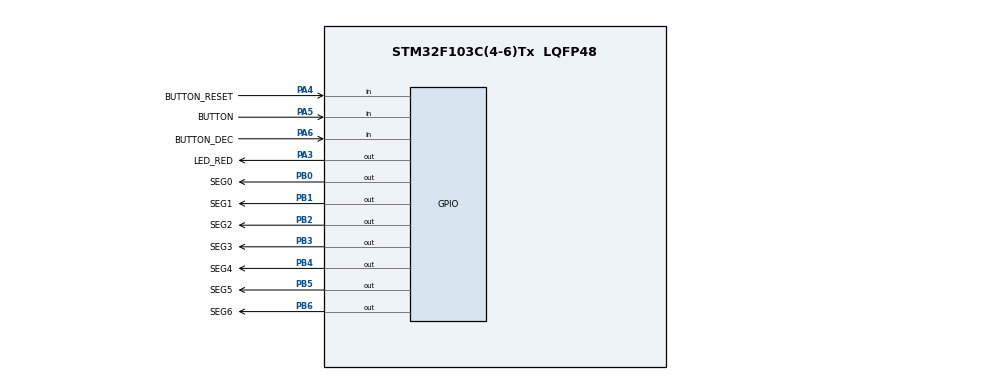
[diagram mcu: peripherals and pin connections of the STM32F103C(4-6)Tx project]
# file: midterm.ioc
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Mcu.Family=STM32F1
Mcu.Name=STM32F103C(4-6)Tx
Mcu.Package=LQFP48
NVIC.PriorityGroup=NVIC_PRIORITYGROUP_4
NVIC.TIM2_IRQn=true\:0\:0\:false\:false\:true\:true\:true\:true
PA3.GPIO_Label=LED_RED
PA3.Signal=GPIO_Output
PA4.GPIO_Label=BUTTON_RESET
PA4.GPIO_PuPd=GPIO_PULLUP
PA4.Signal=GPIO_Input
PA5.GPIO_Label=BUTTON
PA5.GPIO_PuPd=GPIO_PULLUP
PA5.Signal=GPIO_Input
PA6.GPIO_Label=BUTTON_DEC
PA6.GPIO_PuPd=GPIO_PULLUP
PA6.Signal=GPIO_Input
PB0.GPIO_Label=SEG0
PB0.Signal=GPIO_Output
PB1.GPIO_Label=SEG1
PB1.Signal=GPIO_Output
PB2.GPIO_Label=SEG2
PB2.Signal=GPIO_Output
PB3.GPIO_Label=SEG3
PB3.Signal=GPIO_Output
PB4.GPIO_Label=SEG4
PB4.Signal=GPIO_Output
PB5.GPIO_Label=SEG5
PB5.Signal=GPIO_Output
PB6.GPIO_Label=SEG6
PB6.Signal=GPIO_Output
ProjectManager.HeapSize=0x200
ProjectManager.StackSize=0x400
ProjectManager.TargetToolchain=STM32CubeIDE
RCC.APB1Freq_Value=8000000
RCC.APB2Freq_Value=8000000
TIM2.Period=9
TIM2.Prescaler=7999
VP_TIM2_VS_ClockSourceINT.Mode=Internal
board=custom

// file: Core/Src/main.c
/* USER CODE BEGIN Header */
/**
  ******************************************************************************
  * @file           : main.c
  * @brief          : Main program body
  ******************************************************************************
  * @attention
  *
  * Copyright (c) 2022 STMicroelectronics.
  * All rights reserved.
  *
  * This software is licensed under terms that can be found in the LICENSE file
  * in the root directory of this software component.
  * If no LICENSE file comes with this software, it is provided AS-IS.
  *
  ******************************************************************************
  */
/* USER CODE END Header */
#include "main.h"

/* USER CODE BEGIN Includes */
#include "global.h"
#include "software-timer.h"
#include "button.h"
#include "fsm-simple-button-run.h"
/* USER CODE END Includes */

TIM_HandleTypeDef htim2;

void SystemClock_Config(void);
static void MX_GPIO_Init(void);
static void MX_TIM2_Init(void);

int main(void)
{

  /* MCU Configuration--------------------------------------------------------*/

  /* Reset of all peripherals, Initializes the Flash interface and the Systick. */
  HAL_Init();

  /* Configure the system clock */
  SystemClock_Config();

  /* Initialize all configured peripherals */
  MX_GPIO_Init();
  MX_TIM2_Init();
  /* USER CODE BEGIN 2 */
  HAL_TIM_Base_Start_IT(&htim2);
  /* USER CODE END 2 */

  /* Infinite loop */
  /* USER CODE BEGIN WHILE */
  setTimer1(1000);
  //int number = 0;
  state = RS;
  while (1)
  {
	  fsm_simple_button_run();
//	  if (isButtonDCPressed() == 1) {
//		  if (number <= 9) {
//			  display7SegComAnode(number);
//			  number++;
//			  if (number > 9) number = 0;
//		  }
//	  }
    /* USER CODE END WHILE */

  }
}

void SystemClock_Config(void)
{
  RCC_OscInitTypeDef RCC_OscInitStruct = {0};
  RCC_ClkInitTypeDef RCC_ClkInitStruct = {0};

  /** Initializes the RCC Oscillators according to the specified parameters
  * in the RCC_OscInitTypeDef structure.
  */
  RCC_OscInitStruct.OscillatorType = RCC_OSCILLATORTYPE_HSI;
  RCC_OscInitStruct.HSIState = RCC_HSI_ON;
  RCC_OscInitStruct.HSICalibrationValue = RCC_HSICALIBRATION_DEFAULT;
  RCC_OscInitStruct.PLL.PLLState = RCC_PLL_NONE;
  if (HAL_RCC_OscConfig(&RCC_OscInitStruct) != HAL_OK)
  {
    Error_Handler();
  }

  /** Initializes the CPU, AHB and APB buses clocks
  */
  RCC_ClkInitStruct.ClockType = RCC_CLOCKTYPE_HCLK|RCC_CLOCKTYPE_SYSCLK
                              |RCC_CLOCKTYPE_PCLK1|RCC_CLOCKTYPE_PCLK2;
  RCC_ClkInitStruct.SYSCLKSource = RCC_SYSCLKSOURCE_HSI;
  RCC_ClkInitStruct.AHBCLKDivider = RCC_SYSCLK_DIV1;
  RCC_ClkInitStruct.APB1CLKDivider = RCC_HCLK_DIV1;
  RCC_ClkInitStruct.APB2CLKDivider = RCC_HCLK_DIV1;

  if (HAL_RCC_ClockConfig(&RCC_ClkInitStruct, FLASH_LATENCY_0) != HAL_OK)
  {
    Error_Handler();
  }
}

static void MX_TIM2_Init(void)
{

  TIM_ClockConfigTypeDef sClockSourceConfig = {0};
  TIM_MasterConfigTypeDef sMasterConfig = {0};

  htim2.Instance = TIM2;
  htim2.Init.Prescaler = 7999;
  htim2.Init.CounterMode = TIM_COUNTERMODE_UP;
  htim2.Init.Period = 9;
  htim2.Init.ClockDivision = TIM_CLOCKDIVISION_DIV1;
  htim2.Init.AutoReloadPreload = TIM_AUTORELOAD_PRELOAD_DISABLE;
  if (HAL_TIM_Base_Init(&htim2) != HAL_OK)
  {
    Error_Handler();
  }
  sClockSourceConfig.ClockSource = TIM_CLOCKSOURCE_INTERNAL;
  if (HAL_TIM_ConfigClockSource(&htim2, &sClockSourceConfig) != HAL_OK)
  {
    Error_Handler();
  }
  sMasterConfig.MasterOutputTrigger = TIM_TRGO_RESET;
  sMasterConfig.MasterSlaveMode = TIM_MASTERSLAVEMODE_DISABLE;
  if (HAL_TIMEx_MasterConfigSynchronization(&htim2, &sMasterConfig) != HAL_OK)
  {
    Error_Handler();
  }

}

static void MX_GPIO_Init(void)
{
  GPIO_InitTypeDef GPIO_InitStruct = {0};

  /* GPIO Ports Clock Enable */
  __HAL_RCC_GPIOA_CLK_ENABLE();
  __HAL_RCC_GPIOB_CLK_ENABLE();

  /*Configure GPIO pin Output Level */
  HAL_GPIO_WritePin(LED_RED_GPIO_Port, LED_RED_Pin, GPIO_PIN_RESET);

  /*Configure GPIO pin Output Level */
  HAL_GPIO_WritePin(GPIOB, SEG0_Pin|SEG1_Pin|SEG2_Pin|SEG3_Pin
                          |SEG4_Pin|SEG5_Pin|SEG6_Pin, GPIO_PIN_RESET);

  /*Configure GPIO pin : LED_RED_Pin */
  GPIO_InitStruct.Pin = LED_RED_Pin;
  GPIO_InitStruct.Mode = GPIO_MODE_OUTPUT_PP;
  GPIO_InitStruct.Pull = GPIO_NOPULL;
  GPIO_InitStruct.Speed = GPIO_SPEED_FREQ_LOW;
  HAL_GPIO_Init(LED_RED_GPIO_Port, &GPIO_InitStruct);

  /*Configure GPIO pins : BUTTON_RESET_Pin BUTTON_Pin BUTTON_DEC_Pin */
  GPIO_InitStruct.Pin = BUTTON_RESET_Pin|BUTTON_Pin|BUTTON_DEC_Pin;
  GPIO_InitStruct.Mode = GPIO_MODE_INPUT;
  GPIO_InitStruct.Pull = GPIO_PULLUP;
  HAL_GPIO_Init(GPIOA, &GPIO_InitStruct);

  /*Configure GPIO pins : SEG0_Pin SEG1_Pin SEG2_Pin SEG3_Pin
                           SEG4_Pin SEG5_Pin SEG6_Pin */
  GPIO_InitStruct.Pin = SEG0_Pin|SEG1_Pin|SEG2_Pin|SEG3_Pin
                          |SEG4_Pin|SEG5_Pin|SEG6_Pin;
  GPIO_InitStruct.Mode = GPIO_MODE_OUTPUT_PP;
  GPIO_InitStruct.Pull = GPIO_NOPULL;
  GPIO_InitStruct.Speed = GPIO_SPEED_FREQ_LOW;
  HAL_GPIO_Init(GPIOB, &GPIO_InitStruct);

}

/* USER CODE BEGIN 4 */
int counter = 0;
void HAL_TIM_PeriodElapsedCallback(TIM_HandleTypeDef *htim) {
	timerRun();
	getKeyRSInput();
	getKeyINCInput();
	getKeyDCInput();

	//Led blinky
	if (counter < 100) {
		counter++;
		if (counter >= 100) {
			HAL_GPIO_TogglePin(GPIOA, LED_RED_Pin);
			counter = 0;
		}
	}
}
/* USER CODE END 4 */

void Error_Handler(void)
{
  __disable_irq();
  while (1)
  {
  }
}
